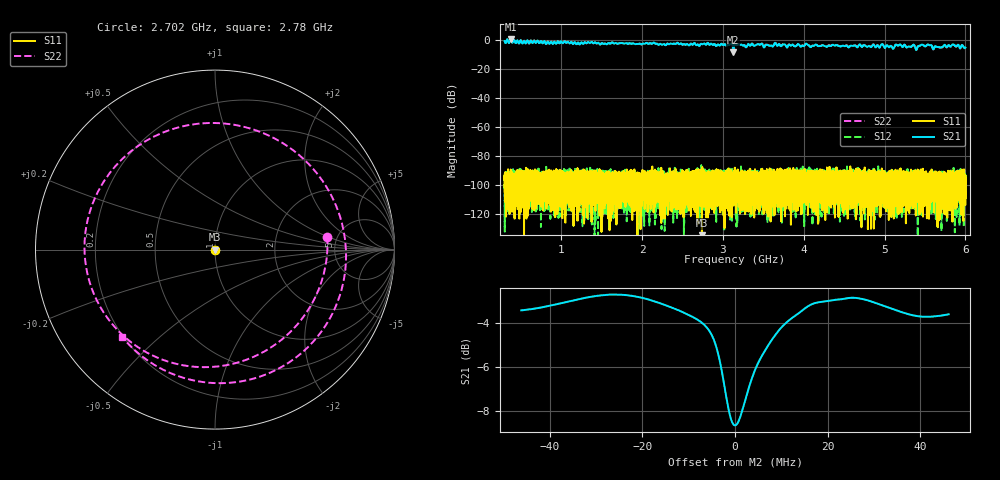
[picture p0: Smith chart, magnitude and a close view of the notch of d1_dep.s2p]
!Agilent Technologies,N5230C,SG49000117,A.08.50.07
!Agilent N5230C: A.08.50.07
!Date: Sunday, March 17, 2024 07:07:13
!Correction: S11(Off)
!S21(Off)
!S12(Off)
!S22(Off)
!S2P File: Measurements: S11, S21, S12, S22:
# Hz S  RI  R 50
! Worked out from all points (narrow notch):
!   20001 points, 300 MHz to 6 GHz, reference 50 ohm
!   highest |S21| = 0.48 dB at 374.4 MHz (marker M1); lowest = -8.6 dB at 3.127 GHz (marker M2)
!   notch at M2: 5.4 dB deep, 7.71 MHz wide at half that depth
!   lowest |S11| = -139.5 dB at 2.74 GHz (marker M3), VSWR 1.00, Z = 50 + j8.7e-06 ohm
!   |S11| at or under -10 dB: start of sweep to end of sweep
!   |S22| runs from -8.6 to 0.5 dB; largest |S21 - S12| = 1.1
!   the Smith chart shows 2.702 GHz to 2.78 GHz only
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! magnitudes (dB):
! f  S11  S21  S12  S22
! 300 MHz  -94.8  -0.9  -102.6  -0.8
! 374.4 MHz  -91.3  0.5  -98.1  0.5
! 1.25 GHz  -103.2  -1.7  -99.1  -1.7
! 2.2 GHz  -95.1  -3.3  -96.8  -3.3
! 2.74 GHz  -139.5  -3.0  -101.3  -3.0
! 3.127 GHz  -94.5  -8.6  -100.8  -8.6
! 3.15 GHz  -92.0  -2.9  -100.1  -2.9
! 3.46 GHz  -99.6  -3.4  -97.0  -3.4
! 3.597 GHz  -94.4  -3.8  -91.6  -3.7
! 3.664 GHz  -100.7  -3.5  -100.9  -3.4
! 3.98 GHz  -96.7  -4.0  -101.9  -3.9
! 4.039 GHz  -105.3  -2.9  -92.0  -2.8
! 4.1 GHz  -99.0  -4.3  -101.1  -4.2
! 5.05 GHz  -103.6  -5.0  -96.7  -4.9
! 5.1 GHz  -92.5  -5.8  -109.1  -5.7
! 5.173 GHz  -101.4  -3.9  -95.6  -3.9
! 5.401 GHz  -98.9  -5.9  -108.3  -5.9
! 5.449 GHz  -100.8  -3.6  -100.3  -3.6
! 5.552 GHz  -92.7  -3.7  -96.4  -3.8
! 5.618 GHz  -92.0  -4.8  -104.1  -4.8
! 5.85 GHz  -96.8  -3.2  -100.9  -3.3
! 6 GHz  -95.3  -5.4  -98.9  -5.4
